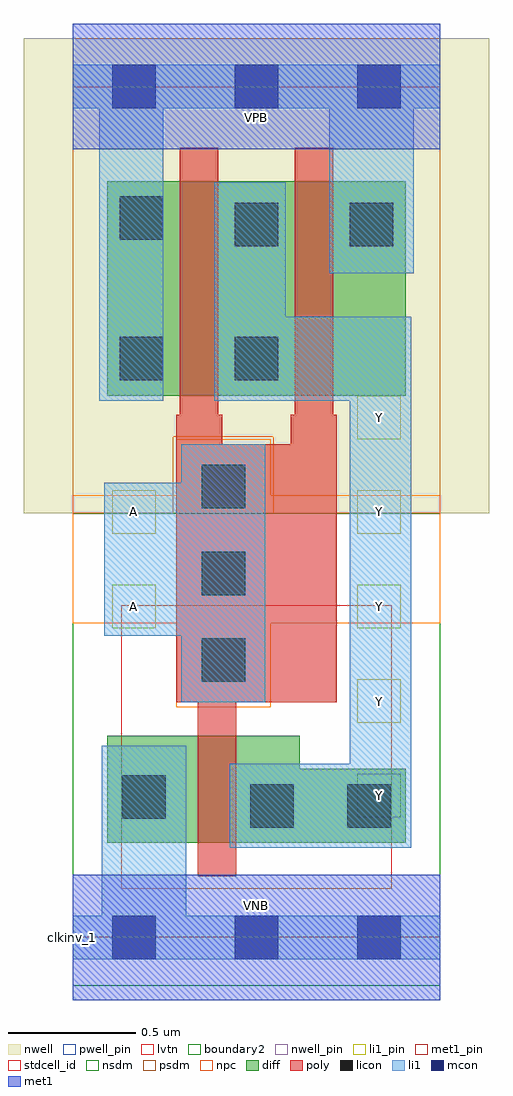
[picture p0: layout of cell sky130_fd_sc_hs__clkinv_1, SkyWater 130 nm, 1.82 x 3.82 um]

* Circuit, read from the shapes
.subckt sky130_fd_sc_hs__clkinv_1 A VGND VNB VPB VPWR Y
XM1 Y A VGND VNB sky130_fd_pr__nfet_01v8_lvt w=0.42 l=0.15
XM2 Y A VPWR VPB sky130_fd_pr__pfet_01v8 w=0.84 l=0.15 m=2
.ends

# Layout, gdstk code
import gdstk
lib = gdstk.Library(unit=1e-6, precision=1e-09)
def R(c, l, rs):  # rectangles x0, y0, x1, y1
    for r in rs: c.add(gdstk.rectangle(r[:2], r[2:], *l))
def A(c, l, x, y, w, h, nx, ny, dx, dy):  # array of equal rectangles
    R(c, l, [(x+i*dx, y+j*dy, x+i*dx+w, y+j*dy+h) for i in range(nx) for j in range(ny)])
def P(c, l, *ps):  # polygons
    for p in ps: c.add(gdstk.Polygon(p, *l))
nwell_pin = (64, 16)
nwell = (64, 20)
diff = (65, 20)
poly = (66, 20)
licon = (66, 44)
li1_pin = (67, 16)
li1 = (67, 20)
mcon = (67, 44)
met1_pin = (68, 16)
met1 = (68, 20)
stdcell_id = (81, 4)
nsdm = (93, 44)
psdm = (94, 20)
npc = (95, 20)
pwell_pin = (122, 16)
lvtn = (125, 44)
boundary2 = (236, 0)

sky130_fd_sc_hs__clkinv_ = lib.new_cell('sky130_fd_sc_hs__clkinv_1')
R(sky130_fd_sc_hs__clkinv_, nwell_pin, [(0,3.085,1.44,3.33)])
R(sky130_fd_sc_hs__clkinv_, nwell, [(-0.19,1.66,1.63,3.52)])
R(sky130_fd_sc_hs__clkinv_, diff, [(0.135,2.12,1.305,2.96)])
P(sky130_fd_sc_hs__clkinv_, diff, [(1.305,0.66),(0.89,0.66),(0.89,0.79),(0.135,0.79),(0.135,0.37),(1.305,0.37)])
P(sky130_fd_sc_hs__clkinv_, poly, [(1.035,2.045),(1.02,2.045),(1.02,3.09),(0.87,3.09),(0.87,2.045),(0.855,2.045),(0.855,1.93),(0.585,1.93),(0.585,2.045),(0.57,2.045),(0.57,3.09),(0.42,3.09),(0.42,2.045),(0.405,2.045),(0.405,0.92),(0.49,0.92),(0.49,0.24),(0.64,0.24),(0.64,0.92),(1.035,0.92)])
A(sky130_fd_sc_hs__clkinv_, licon, 0.505, 1, 0.17, 0.17, 1, 3, 0, 0.34)
R(sky130_fd_sc_hs__clkinv_, licon, [(0.695,0.43,0.865,0.6), (1.075,0.43,1.245,0.6), (0.195,0.465,0.365,0.635), (0.185,2.18,0.355,2.35), (0.635,2.18,0.805,2.35), (0.635,2.705,0.805,2.875), (1.085,2.705,1.255,2.875), (0.185,2.73,0.355,2.9)])
A(sky130_fd_sc_hs__clkinv_, li1_pin, 1.115, 0.47, 0.17, 0.17, 1, 5, 0, 0.37)
R(sky130_fd_sc_hs__clkinv_, li1_pin, [(0.155,1.21,0.325,1.38), (0.155,1.58,0.325,1.75)])
P(sky130_fd_sc_hs__clkinv_, li1, [(1.005,2.6),(1.005,3.245),(0.355,3.245),(0.355,2.1),(0.105,2.1),(0.105,3.245),(0,3.245),(0,3.415),(1.44,3.415),(1.44,3.245),(1.335,3.245),(1.335,2.6)],
  [(0.115,0.085),(0.115,0.75),(0.445,0.75),(0.445,0.085),(1.44,0.085),(1.44,-0.085),(0,-0.085),(0,0.085)],
  [(0.425,0.92),(0.425,1.18),(0.125,1.18),(0.125,1.78),(0.425,1.78),(0.425,1.93),(0.755,1.93),(0.755,0.92)],
  [(1.325,2.43),(0.835,2.43),(0.835,2.955),(0.555,2.955),(0.555,2.1),(1.085,2.1),(1.085,0.68),(0.615,0.68),(0.615,0.35),(1.325,0.35)])
A(sky130_fd_sc_hs__clkinv_, mcon, 0.155, -0.085, 0.17, 0.17, 3, 2, 0.48, 3.33)
R(sky130_fd_sc_hs__clkinv_, met1_pin, [(0,0,1.44,0.245), (0,3.085,1.44,3.33)])
R(sky130_fd_sc_hs__clkinv_, met1, [(0,-0.245,1.44,0.245), (0,3.085,1.44,3.575)])
R(sky130_fd_sc_hs__clkinv_, stdcell_id, [(0,0,1.44,3.33)])
R(sky130_fd_sc_hs__clkinv_, nsdm, [(0,-0.19,1.44,1.66)])
P(sky130_fd_sc_hs__clkinv_, psdm, [(1.44,3.52),(0,3.52),(0,1.66),(0.395,1.66),(0.395,1.96),(0.785,1.96),(0.785,1.66),(1.44,1.66)])
P(sky130_fd_sc_hs__clkinv_, npc, [(1.44,1.73),(0.775,1.73),(0.775,1.95),(0.405,1.95),(0.405,1.73),(0,1.73),(0,1.23),(0.405,1.23),(0.405,0.9),(0.775,0.9),(0.775,1.23),(1.44,1.23)])
R(sky130_fd_sc_hs__clkinv_, pwell_pin, [(0,0,1.44,0.245)])
R(sky130_fd_sc_hs__clkinv_, lvtn, [(0.19,0.19,1.25,1.3)])
R(sky130_fd_sc_hs__clkinv_, boundary2, [(0,0,1.44,3.33)])
sky130_fd_sc_hs__clkinv_.add(gdstk.Label('clkinv_1', (0,0), layer=83, texttype=44))
sky130_fd_sc_hs__clkinv_.add(gdstk.Label('VNB', (0.72,0.123), layer=64, texttype=59))
sky130_fd_sc_hs__clkinv_.add(gdstk.Label('VPB', (0.72,3.208), layer=64, texttype=5))
sky130_fd_sc_hs__clkinv_.add(gdstk.Label('VPWR', (0.72,3.208), layer=68, texttype=5))
sky130_fd_sc_hs__clkinv_.add(gdstk.Label('VGND', (0.72,0.123), layer=68, texttype=5))
sky130_fd_sc_hs__clkinv_.add(gdstk.Label('A', (0.24,1.295), layer=67, texttype=5))
sky130_fd_sc_hs__clkinv_.add(gdstk.Label('A', (0.24,1.665), layer=67, texttype=5))
sky130_fd_sc_hs__clkinv_.add(gdstk.Label('Y', (1.2,0.555), layer=67, texttype=5))
sky130_fd_sc_hs__clkinv_.add(gdstk.Label('Y', (1.2,0.925), layer=67, texttype=5))
sky130_fd_sc_hs__clkinv_.add(gdstk.Label('Y', (1.2,1.295), layer=67, texttype=5))
sky130_fd_sc_hs__clkinv_.add(gdstk.Label('Y', (1.2,1.665), layer=67, texttype=5))
sky130_fd_sc_hs__clkinv_.add(gdstk.Label('Y', (1.2,2.035), layer=67, texttype=5))

lib.write_gds('sky130_fd_sc_hs__clkinv_1.gds')
